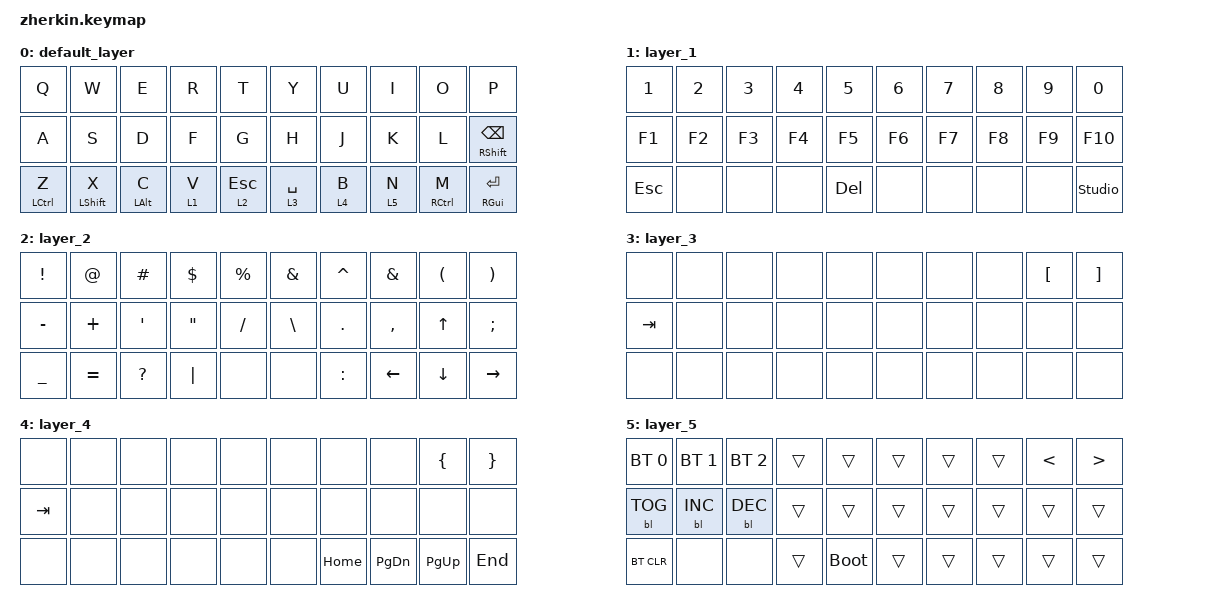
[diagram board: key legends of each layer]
#include <behaviors.dtsi>
#include <dt-bindings/zmk/bt.h>
#include <dt-bindings/zmk/keys.h>
#include <dt-bindings/zmk/backlight.h>

#define DEFAULT 0
#define LOWER 1

/ {
    keymap {
        compatible = "zmk,keymap";

        default_layer {


            bindings = <
&kp Q        &kp W         &kp E           &kp R    &kp T         &kp Y        &kp U    &kp I    &kp O        &kp P
&kp A        &kp S         &kp D           &kp F    &kp G         &kp H        &kp J    &kp K    &kp L        &mt RSHIFT BACKSPACE
&mt LCTRL Z  &mt LSHIFT X  &mt LEFT_ALT C  &lt 1 V  &lt 2 ESCAPE  &lt 3 SPACE  &lt 4 B  &lt 5 N  &mt RCTRL M  &mt RGUI ENTER
            >;
        };

        layer_1 {

            bindings = <
&kp NUMBER_1  &kp NUMBER_2  &kp NUMBER_3  &kp NUMBER_4  &kp NUMBER_5  &kp NUMBER_6  &kp N7  &kp N8  &kp N9  &kp N0
&kp F1        &kp F2        &kp F3        &kp F4        &kp F5        &kp F6        &kp F7  &kp F8  &kp F9  &kp F10
&kp ESCAPE    &none         &none         &none         &kp DELETE    &none         &none   &none   &none   &studio_unlock
            >;
        };

        layer_2 {
            bindings = <
&kp EXCLAMATION  &kp AT_SIGN  &kp HASH      &kp DOLLAR         &kp PERCENT  &kp AMPERSAND  &kp CARET   &kp AMPERSAND  &kp LEFT_PARENTHESIS  &kp RIGHT_PARENTHESIS
&kp MINUS        &kp PLUS     &kp SQT       &kp DOUBLE_QUOTES  &kp SLASH    &kp BACKSLASH  &kp PERIOD  &kp COMMA      &kp UP_ARROW          &kp SEMICOLON
&kp UNDERSCORE   &kp EQUAL    &kp QUESTION  &kp PIPE           &none        &none          &kp COLON   &kp LEFT       &kp DOWN              &kp RIGHT
            >;
        };

        layer_3 {
            bindings = <
&none    &none  &none  &none  &none  &none  &none  &none  &kp LEFT_BRACKET  &kp RIGHT_BRACKET
&kp TAB  &none  &none  &none  &none  &none  &none  &none  &none             &none
&none    &none  &none  &none  &none  &none  &none  &none  &none             &none
            >;
        };

        layer_4 {
            bindings = <
&none    &none  &none  &none  &none  &none  &none     &none          &kp LEFT_BRACE  &kp RIGHT_BRACE
&kp TAB  &none  &none  &none  &none  &none  &none     &none          &none           &none
&none    &none  &none  &none  &none  &none  &kp HOME  &kp PAGE_DOWN  &kp PG_UP       &kp END
            >;
        };

        layer_5 {
            bindings = <
&bt BT_SEL 0  &bt BT_SEL 1  &bt BT_SEL 2  &trans  &trans       &trans  &trans  &trans  &kp LESS_THAN  &kp GREATER_THAN
&bl BL_TOG    &bl BL_INC    &bl BL_DEC    &trans  &trans       &trans  &trans  &trans  &trans         &trans
&bt BT_CLR    &none         &none         &trans  &bootloader  &trans  &trans  &trans  &trans         &trans
            >;
        };
    };
};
